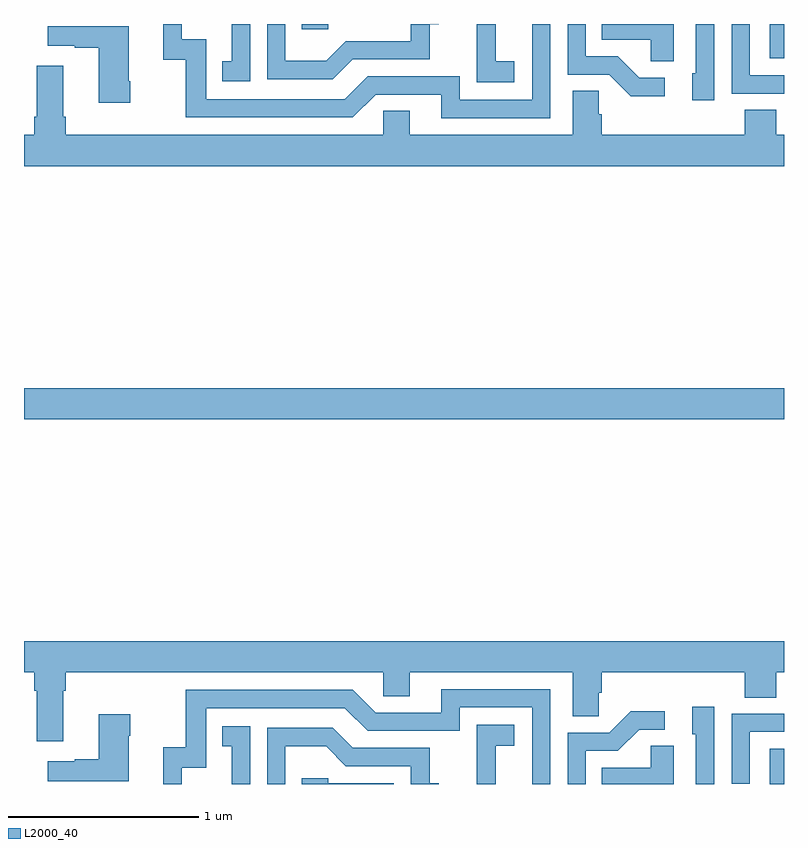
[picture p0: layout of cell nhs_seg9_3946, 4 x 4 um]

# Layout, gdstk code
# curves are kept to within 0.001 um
import gdstk
lib = gdstk.Library(unit=1e-6, precision=1e-09)
def R(c, l, rs):  # rectangles x0, y0, x1, y1
    for r in rs: c.add(gdstk.rectangle(r[:2], r[2:], *l))
def P(c, l, *ps):  # polygons
    for p in ps: c.add(gdstk.Polygon(p, *l))
L2000_40 = (2000, 40)

nhs_seg9_3946 = lib.new_cell('nhs_seg9_3946')
R(nhs_seg9_3946, L2000_40, [(340.925,1194.5,341,1194.685), (337,1196.42,341,1196.584), (340.925,1198.319,341,1198.5), (338.461,1198.473,338.601,1198.5)])
P(nhs_seg9_3946, L2000_40, [(338.19,1198.5),(338.093,1198.5),(338.093,1198.305),(338.044,1198.305),(338.044,1198.2),(338.19,1198.2)],
  [(339.771,1198.5),(339.675,1198.5),(339.675,1198.101),(339.294,1198.101),(339.294,1198.224),(338.808,1198.224),(338.688,1198.104),(337.959,1198.104),(337.959,1198.419),(337.83,1198.419),(337.83,1198.5),(337.733,1198.5),(337.733,1198.311),(337.851,1198.311),(337.851,1198.008),(338.73,1198.008),(338.85,1198.128),(339.197,1198.128),(339.197,1198.005),(339.771,1198.005)],
  [(340.632,1198.5),(340.536,1198.5),(340.536,1198.242),(340.517,1198.242),(340.517,1198.098),(340.632,1198.098)],
  [(338.731,1198.314),(339.135,1198.314),(339.135,1198.499),(339.184,1198.5),(339.036,1198.5),(339.036,1198.41),(338.694,1198.41),(338.59,1198.306),(338.376,1198.306),(338.376,1198.5),(338.28,1198.5),(338.28,1198.209),(338.626,1198.209)],
  [(341,1198.23),(340.821,1198.23),(340.821,1198.5),(340.725,1198.5),(340.725,1198.134),(341,1198.134)],
  [(340.42,1198.5),(340.042,1198.5),(340.042,1198.418),(340.299,1198.418),(340.299,1198.303),(340.42,1198.303)],
  [(339.58,1198.303),(339.482,1198.303),(339.482,1198.5),(339.383,1198.5),(339.383,1198.399),(339.382,1198.399),(339.382,1198.193),(339.58,1198.193)],
  [(340.372,1198.218),(340.237,1198.218),(340.126,1198.329),(339.957,1198.329),(339.957,1198.5),(339.861,1198.5),(339.861,1198.233),(340.08,1198.233),(340.193,1198.121),(340.372,1198.121)],
  [(337.56,1198.198),(337.552,1198.198),(337.552,1198.489),(337.125,1198.489),(337.125,1198.385),(337.268,1198.385),(337.268,1198.375),(337.394,1198.375),(337.394,1198.086),(337.56,1198.086)],
  [(341,1197.916),(340.958,1197.916),(340.958,1198.049),(340.793,1198.049),(340.793,1197.916),(340.04,1197.916),(340.04,1198.025),(340.026,1198.025),(340.026,1198.148),(339.887,1198.148),(339.887,1197.916),(339.031,1197.916),(339.031,1198.043),(338.892,1198.043),(338.892,1197.916),(337.22,1197.916),(337.22,1198.012),(337.207,1198.012),(337.207,1198.279),(337.067,1198.279),(337.067,1198.012),(337.055,1198.012),(337.055,1197.916),(337,1197.916),(337,1197.752),(341,1197.752)],
  [(337,1195.088),(337.055,1195.088),(337.055,1194.992),(337.067,1194.992),(337.067,1194.726),(337.207,1194.726),(337.207,1194.992),(337.22,1194.992),(337.22,1195.088),(338.892,1195.088),(338.892,1194.961),(339.031,1194.961),(339.031,1195.088),(339.887,1195.088),(339.887,1194.856),(340.026,1194.856),(340.026,1194.979),(340.04,1194.979),(340.04,1195.088),(340.793,1195.088),(340.793,1194.955),(340.958,1194.955),(340.958,1195.088),(341,1195.088),(341,1195.252),(337,1195.252)],
  [(337.83,1194.585),(337.959,1194.585),(337.959,1194.9),(338.688,1194.9),(338.808,1194.78),(339.294,1194.78),(339.294,1194.903),(339.675,1194.903),(339.675,1194.5),(339.771,1194.5),(339.771,1194.999),(339.197,1194.999),(339.197,1194.876),(338.85,1194.876),(338.73,1194.996),(337.851,1194.996),(337.851,1194.694),(337.733,1194.694),(337.733,1194.5),(337.83,1194.5)],
  [(340.632,1194.907),(340.517,1194.907),(340.517,1194.762),(340.536,1194.762),(340.536,1194.5),(340.632,1194.5)],
  [(339.957,1194.675),(340.126,1194.675),(340.237,1194.786),(340.372,1194.786),(340.372,1194.884),(340.193,1194.884),(340.08,1194.771),(339.861,1194.771),(339.861,1194.5),(339.957,1194.5)],
  [(340.821,1194.774),(341,1194.774),(341,1194.87),(340.725,1194.87),(340.725,1194.501),(340.821,1194.501)],
  [(337.552,1194.755),(337.56,1194.755),(337.56,1194.868),(337.394,1194.868),(337.394,1194.629),(337.268,1194.629),(337.268,1194.619),(337.125,1194.619),(337.125,1194.515),(337.552,1194.515)],
  [(339.482,1194.701),(339.58,1194.701),(339.58,1194.811),(339.382,1194.811),(339.382,1194.605),(339.383,1194.605),(339.383,1194.5),(339.482,1194.5)],
  [(338.19,1194.805),(338.044,1194.805),(338.044,1194.699),(338.093,1194.699),(338.093,1194.5),(338.19,1194.5)],
  [(338.376,1194.698),(338.59,1194.698),(338.694,1194.594),(339.036,1194.594),(339.036,1194.5),(339.184,1194.5),(339.184,1194.505),(339.135,1194.505),(339.135,1194.69),(338.731,1194.69),(338.626,1194.795),(338.28,1194.795),(338.28,1194.5),(338.376,1194.5)],
  [(340.42,1194.701),(340.299,1194.701),(340.299,1194.586),(340.042,1194.586),(340.042,1194.5),(340.42,1194.5)],
  [(338.946,1194.504),(338.601,1194.504),(338.601,1194.531),(338.461,1194.531),(338.461,1194.5),(338.946,1194.5)])

lib.write_gds('nhs_seg9_3946.gds')
